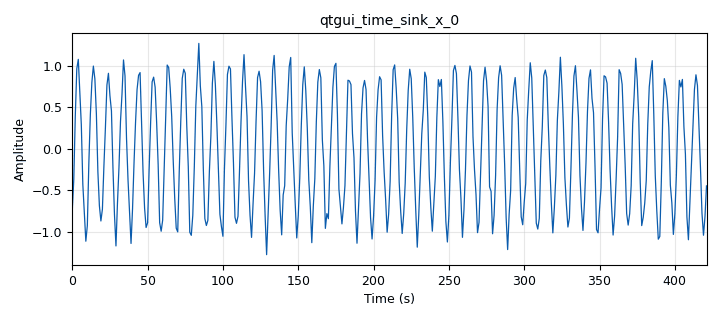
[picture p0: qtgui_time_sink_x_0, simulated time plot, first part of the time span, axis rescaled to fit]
<?xml version='1.0' encoding='utf-8'?>
<?grc format='1' created='3.7.11'?>
<flow_graph>
<block>
<key>options</key>
<param><key>id</key><value>udp_test</value></param>
<param><key>generate_options</key><value>qt_gui</value></param>
</block>
<block>
<key>variable</key>
<param><key>id</key><value>samp_rate</value></param>
<param><key>value</key><value>1</value></param>
</block>
<block>
<key>analog_noise_source_x</key>
<param><key>id</key><value>analog_noise_source_x_0</value></param>
<param><key>amp</key><value>0.1</value></param>
<param><key>noise_type</key><value>analog.GR_GAUSSIAN</value></param>
<param><key>type</key><value>float</value></param>
<param><key>seed</key><value>0</value></param>
</block>
<block>
<key>analog_sig_source_x</key>
<param><key>id</key><value>analog_sig_source_x_0</value></param>
<param><key>amp</key><value>1</value></param>
<param><key>freq</key><value>0.1</value></param>
<param><key>offset</key><value>0</value></param>
<param><key>type</key><value>float</value></param>
<param><key>samp_rate</key><value>samp_rate</value></param>
<param><key>waveform</key><value>analog.GR_COS_WAVE</value></param>
</block>
<block>
<key>blocks_add_xx</key>
<param><key>id</key><value>blocks_add_xx_0</value></param>
<param><key>type</key><value>float</value></param>
</block>
<block>
<key>blocks_null_sink</key>
<param><key>id</key><value>blocks_null_sink_0</value></param>
<param><key>bus_conns</key><value>[[0,],]</value></param>
<param><key>type</key><value>float</value></param>
</block>
<block>
<key>blocks_null_source</key>
<param><key>id</key><value>blocks_null_source_0</value></param>
<param><key>bus_conns</key><value>[[0,],]</value></param>
<param><key>type</key><value>float</value></param>
</block>
<block>
<key>blocks_throttle</key>
<param><key>id</key><value>blocks_throttle_0</value></param>
<param><key>samples_per_second</key><value>samp_rate</value></param>
<param><key>type</key><value>float</value></param>
</block>
<block>
<key>blocks_udp_sink</key>
<param><key>id</key><value>blocks_udp_sink_0</value></param>
<param><key>ipaddr</key><value>"127.0.0.1"</value></param>
<param><key>port</key><value>5005</value></param>
<param><key>type</key><value>float</value></param>
<param><key>psize</key><value>1024</value></param>
<param><key>eof</key><value>True</value></param>
<param><key>vlen</key><value>1</value></param>
</block>
<block>
<key>qtgui_time_sink_x</key>
<param><key>id</key><value>qtgui_time_sink_x_0</value></param>
<param><key>ctrlpanel</key><value>True</value></param>
<param><key>color1</key><value>"blue"</value></param>
<param><key>label1</key><value></value></param>
<param><key>style1</key><value>3</value></param>
<param><key>size</key><value>1024</value></param>
<param><key>srate</key><value>samp_rate</value></param>
<param><key>type</key><value>float</value></param>
</block>
<connection><source_block_id>analog_noise_source_x_0</source_block_id><sink_block_id>blocks_add_xx_0</sink_block_id><source_key>0</source_key><sink_key>1</sink_key></connection>
<connection><source_block_id>analog_sig_source_x_0</source_block_id><sink_block_id>blocks_add_xx_0</sink_block_id><source_key>0</source_key><sink_key>0</sink_key></connection>
<connection><source_block_id>blocks_add_xx_0</source_block_id><sink_block_id>blocks_udp_sink_0</sink_block_id><source_key>0</source_key><sink_key>0</sink_key></connection>
<connection><source_block_id>blocks_add_xx_0</source_block_id><sink_block_id>qtgui_time_sink_x_0</sink_block_id><source_key>0</source_key><sink_key>0</sink_key></connection>
<connection><source_block_id>blocks_null_source_0</source_block_id><sink_block_id>blocks_throttle_0</sink_block_id><source_key>0</source_key><sink_key>0</sink_key></connection>
<connection><source_block_id>blocks_throttle_0</source_block_id><sink_block_id>blocks_null_sink_0</sink_block_id><source_key>0</source_key><sink_key>0</sink_key></connection>
</flow_graph>
